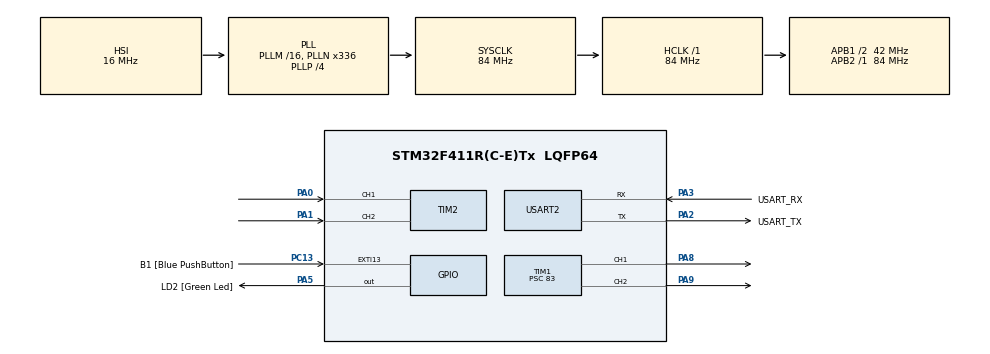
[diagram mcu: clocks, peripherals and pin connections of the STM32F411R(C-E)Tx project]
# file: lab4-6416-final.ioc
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Mcu.Family=STM32F4
Mcu.Name=STM32F411R(C-E)Tx
Mcu.Package=LQFP64
NVIC.PriorityGroup=NVIC_PRIORITYGROUP_0
PA0-WKUP.Signal=S_TIM2_CH1_ETR
PA1.Signal=S_TIM2_CH2
PA13.GPIO_Label=TMS
PA13.Mode=Trace_Asynchronous_SW
PA13.Signal=SYS_JTMS-SWDIO
PA14.GPIO_Label=TCK
PA14.Mode=Trace_Asynchronous_SW
PA14.Signal=SYS_JTCK-SWCLK
PA2.GPIO_Label=USART_TX
PA2.Mode=Asynchronous
PA2.Signal=USART2_TX
PA3.GPIO_Label=USART_RX
PA3.Mode=Asynchronous
PA3.Signal=USART2_RX
PA5.GPIO_Label=LD2 [Green Led]
PA5.Signal=GPIO_Output
PA8.Signal=S_TIM1_CH1
PA9.Signal=S_TIM1_CH2
PB3.GPIO_Label=SWO
PB3.Mode=Trace_Asynchronous_SW
PB3.Signal=SYS_JTDO-SWO
PC13-ANTI_TAMP.GPIO_Label=B1 [Blue PushButton]
PC13-ANTI_TAMP.GPIO_ModeDefaultEXTI=GPIO_MODE_IT_FALLING
PC13-ANTI_TAMP.Signal=GPXTI13
PC14-OSC32_IN.Mode=LSE-External-Oscillator
PC14-OSC32_IN.Signal=RCC_OSC32_IN
PC15-OSC32_OUT.Mode=LSE-External-Oscillator
PC15-OSC32_OUT.Signal=RCC_OSC32_OUT
PH0\ -\ OSC_IN.Mode=HSE-External-Clock-Source
PH0\ -\ OSC_IN.Signal=RCC_OSC_IN
PH1\ -\ OSC_OUT.Mode=HSE-External-Clock-Source
PH1\ -\ OSC_OUT.Signal=RCC_OSC_OUT
ProjectManager.HeapSize=0x200
ProjectManager.StackSize=0x400
ProjectManager.TargetToolchain=STM32CubeIDE
RCC.48MHZClocksFreq_Value=84000000
RCC.AHBFreq_Value=84000000
RCC.APB1CLKDivider=RCC_HCLK_DIV2
RCC.APB1Freq_Value=42000000
RCC.APB1TimFreq_Value=84000000
RCC.APB2Freq_Value=84000000
RCC.APB2TimFreq_Value=84000000
RCC.CortexFreq_Value=84000000
RCC.FLatency-AdvancedSettings=FLASH_LATENCY_2
RCC.HCLKFreq_Value=84000000
RCC.HSE_VALUE=8000000
RCC.HSI_VALUE=16000000
RCC.PLLN=336
RCC.PLLP=RCC_PLLP_DIV4
RCC.SYSCLKFreq_VALUE=84000000
RCC.SYSCLKSource=RCC_SYSCLKSOURCE_PLLCLK
RCC.VCOOutputFreq_Value=336000000
SH.S_TIM1_CH1.0=TIM1_CH1,PWM Generation1 CH1
SH.S_TIM1_CH2.0=TIM1_CH2,PWM Generation2 CH2
SH.S_TIM2_CH1_ETR.0=TIM2_CH1,Encoder_Interface
SH.S_TIM2_CH2.0=TIM2_CH2,Encoder_Interface
TIM1.Channel-PWM\ Generation1\ CH1=TIM_CHANNEL_1
TIM1.Channel-PWM\ Generation2\ CH2=TIM_CHANNEL_2
TIM1.Period=99
TIM1.Prescaler=83
TIM2.EncoderMode=TIM_ENCODERMODE_TI12
USART2.VirtualMode=VM_ASYNC
board=NUCLEO-F411RE

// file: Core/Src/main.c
/* USER CODE BEGIN Header */
/**
  ******************************************************************************
  * @file           : main.c
  * @brief          : Main program body
  ******************************************************************************
  * @attention
  *
  * Copyright (c) 2023 STMicroelectronics.
  * All rights reserved.
  *
  * This software is licensed under terms that can be found in the LICENSE file
  * in the root directory of this software component.
  * If no LICENSE file comes with this software, it is provided AS-IS.
  *
  ******************************************************************************
  */
/* USER CODE END Header */
#include "main.h"

TIM_HandleTypeDef htim1;
TIM_HandleTypeDef htim2;

UART_HandleTypeDef huart2;

/* USER CODE BEGIN PV */
float duty = 0;
float CurrentPosition = 0;

struct encoder
{
	float setpointDeg;
	float setpointPulse;
	float myDeg;
};
struct encoder MyQEI = {0};

// PID
float Kp = 1.8; // 1
float Ki = 0;
float Kd = 0; // 1.5
float error = 0;
float previouserror = 0;
float ITerm = 0;

/* USER CODE END PV */

void SystemClock_Config(void);
static void MX_GPIO_Init(void);
static void MX_USART2_UART_Init(void);
static void MX_TIM1_Init(void);
static void MX_TIM2_Init(void);
/* USER CODE BEGIN PFP */
void PIDController();
/* USER CODE END PFP */

int main(void)
{

  /* MCU Configuration--------------------------------------------------------*/

  /* Reset of all peripherals, Initializes the Flash interface and the Systick. */
  HAL_Init();

  /* Configure the system clock */
  SystemClock_Config();

  /* Initialize all configured peripherals */
  MX_GPIO_Init();
  MX_USART2_UART_Init();
  MX_TIM1_Init();
  MX_TIM2_Init();
  /* USER CODE BEGIN 2 */
  // timer 2
  HAL_TIM_Encoder_Start(&htim2, TIM_CHANNEL_1|TIM_CHANNEL_2); // read encoder from channel 1 and channel 2

  // timer 1
  HAL_TIM_Base_Start(&htim1);
  HAL_TIM_PWM_Start(&htim1, TIM_CHANNEL_1);
  HAL_TIM_PWM_Start(&htim1, TIM_CHANNEL_2);
  /* USER CODE END 2 */

  /* Infinite loop */
  while (1)
  {

    /* USER CODE BEGIN 3 */
	  static uint64_t timestamp = 0;
	  int64_t currentTime = HAL_GetTick();

	  if(currentTime > timestamp){
		  timestamp = currentTime + 10;
		  CurrentPosition = __HAL_TIM_GET_COUNTER(&htim2);
		  MyQEI.setpointPulse = (MyQEI.setpointDeg*307200.0)/36000.0; // degree input to pulse

		  MyQEI.myDeg = (CurrentPosition*36000.0)/307200.0;

		  error = MyQEI.setpointPulse - CurrentPosition;

		  if(MyQEI.setpointDeg <= 36000){
			  PIDController();
		  }
	  }
  }
  /* USER CODE END 3 */
}

void SystemClock_Config(void)
{
  RCC_OscInitTypeDef RCC_OscInitStruct = {0};
  RCC_ClkInitTypeDef RCC_ClkInitStruct = {0};

  /** Configure the main internal regulator output voltage
  */
  __HAL_RCC_PWR_CLK_ENABLE();
  __HAL_PWR_VOLTAGESCALING_CONFIG(PWR_REGULATOR_VOLTAGE_SCALE1);

  /** Initializes the RCC Oscillators according to the specified parameters
  * in the RCC_OscInitTypeDef structure.
  */
  RCC_OscInitStruct.OscillatorType = RCC_OSCILLATORTYPE_HSI;
  RCC_OscInitStruct.HSIState = RCC_HSI_ON;
  RCC_OscInitStruct.HSICalibrationValue = RCC_HSICALIBRATION_DEFAULT;
  RCC_OscInitStruct.PLL.PLLState = RCC_PLL_ON;
  RCC_OscInitStruct.PLL.PLLSource = RCC_PLLSOURCE_HSI;
  RCC_OscInitStruct.PLL.PLLM = 16;
  RCC_OscInitStruct.PLL.PLLN = 336;
  RCC_OscInitStruct.PLL.PLLP = RCC_PLLP_DIV4;
  RCC_OscInitStruct.PLL.PLLQ = 4;
  if (HAL_RCC_OscConfig(&RCC_OscInitStruct) != HAL_OK)
  {
    Error_Handler();
  }

  /** Initializes the CPU, AHB and APB buses clocks
  */
  RCC_ClkInitStruct.ClockType = RCC_CLOCKTYPE_HCLK|RCC_CLOCKTYPE_SYSCLK
                              |RCC_CLOCKTYPE_PCLK1|RCC_CLOCKTYPE_PCLK2;
  RCC_ClkInitStruct.SYSCLKSource = RCC_SYSCLKSOURCE_PLLCLK;
  RCC_ClkInitStruct.AHBCLKDivider = RCC_SYSCLK_DIV1;
  RCC_ClkInitStruct.APB1CLKDivider = RCC_HCLK_DIV2;
  RCC_ClkInitStruct.APB2CLKDivider = RCC_HCLK_DIV1;

  if (HAL_RCC_ClockConfig(&RCC_ClkInitStruct, FLASH_LATENCY_2) != HAL_OK)
  {
    Error_Handler();
  }
}

static void MX_TIM1_Init(void)
{

  TIM_MasterConfigTypeDef sMasterConfig = {0};
  TIM_OC_InitTypeDef sConfigOC = {0};
  TIM_BreakDeadTimeConfigTypeDef sBreakDeadTimeConfig = {0};

  htim1.Instance = TIM1;
  htim1.Init.Prescaler = 83;
  htim1.Init.CounterMode = TIM_COUNTERMODE_UP;
  htim1.Init.Period = 99;
  htim1.Init.ClockDivision = TIM_CLOCKDIVISION_DIV1;
  htim1.Init.RepetitionCounter = 0;
  htim1.Init.AutoReloadPreload = TIM_AUTORELOAD_PRELOAD_DISABLE;
  if (HAL_TIM_PWM_Init(&htim1) != HAL_OK)
  {
    Error_Handler();
  }
  sMasterConfig.MasterOutputTrigger = TIM_TRGO_RESET;
  sMasterConfig.MasterSlaveMode = TIM_MASTERSLAVEMODE_DISABLE;
  if (HAL_TIMEx_MasterConfigSynchronization(&htim1, &sMasterConfig) != HAL_OK)
  {
    Error_Handler();
  }
  sConfigOC.OCMode = TIM_OCMODE_PWM1;
  sConfigOC.Pulse = 0;
  sConfigOC.OCPolarity = TIM_OCPOLARITY_HIGH;
  sConfigOC.OCNPolarity = TIM_OCNPOLARITY_HIGH;
  sConfigOC.OCFastMode = TIM_OCFAST_DISABLE;
  sConfigOC.OCIdleState = TIM_OCIDLESTATE_RESET;
  sConfigOC.OCNIdleState = TIM_OCNIDLESTATE_RESET;
  if (HAL_TIM_PWM_ConfigChannel(&htim1, &sConfigOC, TIM_CHANNEL_1) != HAL_OK)
  {
    Error_Handler();
  }
  if (HAL_TIM_PWM_ConfigChannel(&htim1, &sConfigOC, TIM_CHANNEL_2) != HAL_OK)
  {
    Error_Handler();
  }
  sBreakDeadTimeConfig.OffStateRunMode = TIM_OSSR_DISABLE;
  sBreakDeadTimeConfig.OffStateIDLEMode = TIM_OSSI_DISABLE;
  sBreakDeadTimeConfig.LockLevel = TIM_LOCKLEVEL_OFF;
  sBreakDeadTimeConfig.DeadTime = 0;
  sBreakDeadTimeConfig.BreakState = TIM_BREAK_DISABLE;
  sBreakDeadTimeConfig.BreakPolarity = TIM_BREAKPOLARITY_HIGH;
  sBreakDeadTimeConfig.AutomaticOutput = TIM_AUTOMATICOUTPUT_DISABLE;
  if (HAL_TIMEx_ConfigBreakDeadTime(&htim1, &sBreakDeadTimeConfig) != HAL_OK)
  {
    Error_Handler();
  }
  HAL_TIM_MspPostInit(&htim1);

}

static void MX_TIM2_Init(void)
{

  TIM_Encoder_InitTypeDef sConfig = {0};
  TIM_MasterConfigTypeDef sMasterConfig = {0};

  htim2.Instance = TIM2;
  htim2.Init.Prescaler = 0;
  htim2.Init.CounterMode = TIM_COUNTERMODE_UP;
  htim2.Init.Period = 4294967295;
  htim2.Init.ClockDivision = TIM_CLOCKDIVISION_DIV1;
  htim2.Init.AutoReloadPreload = TIM_AUTORELOAD_PRELOAD_DISABLE;
  sConfig.EncoderMode = TIM_ENCODERMODE_TI12;
  sConfig.IC1Polarity = TIM_ICPOLARITY_RISING;
  sConfig.IC1Selection = TIM_ICSELECTION_DIRECTTI;
  sConfig.IC1Prescaler = TIM_ICPSC_DIV1;
  sConfig.IC1Filter = 0;
  sConfig.IC2Polarity = TIM_ICPOLARITY_RISING;
  sConfig.IC2Selection = TIM_ICSELECTION_DIRECTTI;
  sConfig.IC2Prescaler = TIM_ICPSC_DIV1;
  sConfig.IC2Filter = 0;
  if (HAL_TIM_Encoder_Init(&htim2, &sConfig) != HAL_OK)
  {
    Error_Handler();
  }
  sMasterConfig.MasterOutputTrigger = TIM_TRGO_RESET;
  sMasterConfig.MasterSlaveMode = TIM_MASTERSLAVEMODE_DISABLE;
  if (HAL_TIMEx_MasterConfigSynchronization(&htim2, &sMasterConfig) != HAL_OK)
  {
    Error_Handler();
  }

}

static void MX_USART2_UART_Init(void)
{

  huart2.Instance = USART2;
  huart2.Init.BaudRate = 115200;
  huart2.Init.WordLength = UART_WORDLENGTH_8B;
  huart2.Init.StopBits = UART_STOPBITS_1;
  huart2.Init.Parity = UART_PARITY_NONE;
  huart2.Init.Mode = UART_MODE_TX_RX;
  huart2.Init.HwFlowCtl = UART_HWCONTROL_NONE;
  huart2.Init.OverSampling = UART_OVERSAMPLING_16;
  if (HAL_UART_Init(&huart2) != HAL_OK)
  {
    Error_Handler();
  }

}

static void MX_GPIO_Init(void)
{
  GPIO_InitTypeDef GPIO_InitStruct = {0};

  /* GPIO Ports Clock Enable */
  __HAL_RCC_GPIOC_CLK_ENABLE();
  __HAL_RCC_GPIOH_CLK_ENABLE();
  __HAL_RCC_GPIOA_CLK_ENABLE();
  __HAL_RCC_GPIOB_CLK_ENABLE();

  /*Configure GPIO pin Output Level */
  HAL_GPIO_WritePin(LD2_GPIO_Port, LD2_Pin, GPIO_PIN_RESET);

  /*Configure GPIO pin : B1_Pin */
  GPIO_InitStruct.Pin = B1_Pin;
  GPIO_InitStruct.Mode = GPIO_MODE_IT_FALLING;
  GPIO_InitStruct.Pull = GPIO_NOPULL;
  HAL_GPIO_Init(B1_GPIO_Port, &GPIO_InitStruct);

  /*Configure GPIO pin : LD2_Pin */
  GPIO_InitStruct.Pin = LD2_Pin;
  GPIO_InitStruct.Mode = GPIO_MODE_OUTPUT_PP;
  GPIO_InitStruct.Pull = GPIO_NOPULL;
  GPIO_InitStruct.Speed = GPIO_SPEED_FREQ_LOW;
  HAL_GPIO_Init(LD2_GPIO_Port, &GPIO_InitStruct);

}

/* USER CODE BEGIN 4 */
void PIDController(){
	  ITerm = ITerm + (Ki*error);
	  duty = (Kp*error) + (ITerm) + (Kd*(error - previouserror));
	  if(error <= 4 && error >= -4){
		  duty = 0;
	  }
	  if(MyQEI.setpointDeg < 0){
		  duty = 0;
	  }

	  if(duty > 0){
		if(duty > 100.0){
			duty = 100.0;
		}
		__HAL_TIM_SET_COMPARE(&htim1,TIM_CHANNEL_1,(uint16_t)(duty));
		__HAL_TIM_SET_COMPARE(&htim1,TIM_CHANNEL_2,0);
	  }
	  else{
		duty = duty*(-1.0);
		if(duty > 100.0){
			duty = 100.0;
		}
		__HAL_TIM_SET_COMPARE(&htim1,TIM_CHANNEL_1,0);
		__HAL_TIM_SET_COMPARE(&htim1,TIM_CHANNEL_2,(uint16_t)(duty));
	  }
	  previouserror = error;
}

/* USER CODE END 4 */

void Error_Handler(void)
{
  __disable_irq();
  while (1)
  {
  }
}
